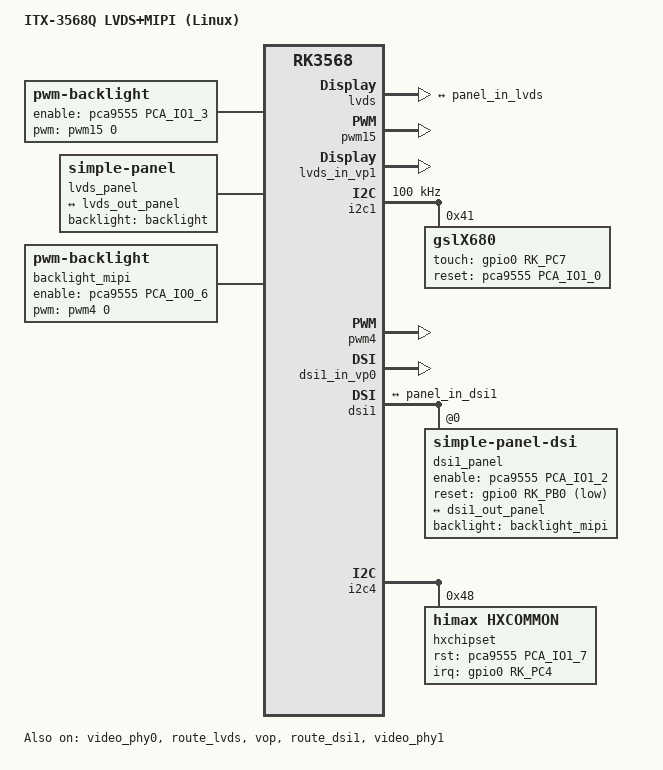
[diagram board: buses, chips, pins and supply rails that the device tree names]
// SPDX-License-Identifier: (GPL-2.0+ OR MIT)
/*
 * Copyright (c) 2020 Rockchip Electronics Co., Ltd.
 *
 */

 /dts-v1/;
#include <dt-bindings/display/media-bus-format.h>
#include "rk3568-firefly-itx-3568q.dtsi"
#include "rk3568-firefly-itx-3568q-cam-8ms1m.dtsi"

/ {
    model = "ITX-3568Q LVDS+MIPI (Linux)";
    compatible = "rockchip,rk3568-firefly-itx-3568q-lvds-mipi", "rockchip,rk3568";

    backlight:backlight {
        status = "okay";
        enable-gpios = <&pca9555 PCA_IO1_3 GPIO_ACTIVE_HIGH>;
        compatible = "pwm-backlight";
        pwms = <&pwm15 0 25000 1>;
        brightness-levels = <
             60  60  60  61  61  61  62  62
             62  63  63  63  64  64  64  65
             65  65  66  66  66  67  67  67
             68  68  68  69  69  69  70  70
             70  71  71  71  72  72  72  73
             73  73  74  74  74  75  75  75
             76  76  76  77  77  77  78  78
             78  79  79  79  80  80  80  81
             81  81  82  82  82  83  83  83
             84  84  84  85  85  85  86  86
             86  87  87  87  88  88  88  89
             89  89  90  91  92  93  94  95
             96  97  98  99 100 101 102 103
            104 105 106 107 108 109 110 111
            112 113 114 115 116 117 118 119
            120 121 122 123 124 125 126 127
            128 129 130 131 132 133 134 135
            136 137 138 139 140 141 142 143
            144 145 146 147 148 149 150 151
            152 153 154 155 156 157 158 159
            160 161 162 163 164 165 166 167
            168 169 170 171 172 173 174 175
            176 177 178 179 180 181 182 183
            184 185 186 187 188 189 190 191
            192 193 194 195 196 197 198 199
            200 201 202 203 204 205 206 207
            208 209 210 211 212 213 214 215
            216 217 218 219 220 221 222 223
            224 225 226 227 228 229 230 231
            232 233 234 235 236 237 238 239
            240 241 242 243 244 245 246 247
            248 249 250 251 252 253 254 255
        >;
        default-brightness-level = <200>;
    };

    lvds_panel: lvds-panel {
        compatible = "simple-panel";
        status = "okay";
        //enable-gpios = <&pca9555 PCA_IO1_2 GPIO_ACTIVE_HIGH>;
        backlight = <&backlight>;
        enable-delay-ms = <35>;
        prepare-delay-ms = <6>;
        unprepare-delay-ms = <0>;
        disable-delay-ms = <20>;
        bus-format = <MEDIA_BUS_FMT_RGB888_1X7X4_SPWG>;
        display-timings {
            native-mode = <&timing0>;
            timing0: timing0 {
                clock-frequency = <72000000>;
                hactive = <800>;
                vactive = <1280>;
                hfront-porch = <50>;
                hsync-len = <10>;
                hback-porch = <50>;
                vfront-porch = <10>;
                vsync-len = <18>;
                vback-porch = <10>;
                hsync-active = <0>;
                vsync-active = <0>;
                de-active = <0>;
                pixelclk-active = <0>;
            };
	    };

        ports {
            #address-cells = <1>;
            #size-cells = <0>;

            port@0 {
                reg = <0>;
                //dual-lvds-even-pixels;
                panel_in_lvds: endpoint {
                    remote-endpoint = <&lvds_out_panel>;
                };
            };
        };
    };

    backlight_mipi: backlight-mipi {
        status = "okay";
        compatible = "pwm-backlight";
        enable-gpios = <&pca9555 PCA_IO0_6 GPIO_ACTIVE_HIGH>;
        pwms = <&pwm4 0 50000 1>;
        brightness-levels = <
             60  60  60  61  61  61  62  62
             62  63  63  63  64  64  64  65
             65  65  66  66  66  67  67  67
             68  68  68  69  69  69  70  70
             70  71  71  71  72  72  72  73
             73  73  74  74  74  75  75  75
             76  76  76  77  77  77  78  78
             78  79  79  79  80  80  80  81
             81  81  82  82  82  83  83  83
             84  84  84  85  85  85  86  86
             86  87  87  87  88  88  88  89
             89  89  90  91  92  93  94  95
             96  97  98  99 100 101 102 103
            104 105 106 107 108 109 110 111
            112 113 114 115 116 117 118 119
            120 121 122 123 124 125 126 127
            128 129 130 131 132 133 134 135
            136 137 138 139 140 141 142 143
            144 145 146 147 148 149 150 151
            152 153 154 155 156 157 158 159
            160 161 162 163 164 165 166 167
            168 169 170 171 172 173 174 175
            176 177 178 179 180 181 182 183
            184 185 186 187 188 189 190 191
            192 193 194 195 196 197 198 199
            200 201 202 203 204 205 206 207
            208 209 210 211 212 213 214 215
            216 217 218 219 220 221 222 223
            224 225 226 227 228 229 230 231
            232 233 234 235 236 237 238 239
            240 241 242 243 244 245 246 247
            248 249 250 251 252 253 254 255
        >;
        default-brightness-level = <200>;
    };
};

&vp0 {
	rockchip,plane-mask = <(1 << ROCKCHIP_VOP2_CLUSTER0 | 1 << ROCKCHIP_VOP2_ESMART0 | 1 << ROCKCHIP_VOP2_SMART0)>;
	rockchip,primary-plane = <ROCKCHIP_VOP2_SMART0>;
};

&vp1 {
	rockchip,plane-mask = <(1 << ROCKCHIP_VOP2_CLUSTER1 | 1 << ROCKCHIP_VOP2_ESMART1 | 1 << ROCKCHIP_VOP2_SMART1)>;
	rockchip,primary-plane = <ROCKCHIP_VOP2_SMART1>;
};

&lvds {
    status = "okay";
    ports {
        lvds_out:port@1 {
            reg = <1>;

            lvds_out_panel: endpoint {
                remote-endpoint = <&panel_in_lvds>;
            };
        };
    };
};

// lvds backlight pwm
&pwm15 {
    status = "okay";
};

// hdmi
&route_hdmi {
    status = "disabled";
    connect = <&vp0_out_hdmi>;
};

&hdmi {
    status = "disabled";
};

&hdmi_in_vp0 {
    status = "disabled";
};

&hdmi_in_vp1 {
    status = "disabled";
};

//lvds
&video_phy0 {
    status = "okay";
};

&lvds_in_vp1 {
    status = "okay";
};

&lvds_in_vp2 {
    status = "disabled";
};

&route_lvds {
    status = "okay";
    connect = <&vp1_out_lvds>;
};

&vop {
    status = "okay";
    assigned-clocks = <&cru DCLK_VOP0>, <&cru DCLK_VOP1>;
    assigned-clock-parents = <&pmucru PLL_HPLL>, <&cru PLL_VPLL>;
};

//gslx680 tp
&i2c1 {
    status = "okay";
    clock-frequency = <100000>;
    //i2c-scl-rising-time-ns = <800>;
    //i2c-scl-falling-time-ns = <100>;
    gslx680: gslx680@41 {
        status = "okay";
        compatible = "gslX680";
        reg = <0x41>;
        screen_max_x = <800>;
        screen_max_y = <1280>;
        touch-gpio = <&gpio0 RK_PC7 IRQ_TYPE_LEVEL_LOW>;
        reset-gpio = <&pca9555 PCA_IO1_0 GPIO_ACTIVE_HIGH>;
        flip-x = <1>;
        flip-y = <0>;
        swap-xy = <0>;
        gsl,fw = <1>;
    };

    mc3230_1: mc3230sensor@4c {
        compatible = "gs_mc3230";
        reg = <0x4c>;
        type = <SENSOR_TYPE_ACCEL>;
        irq_enable = <0>;
        poll_delay_ms = <30>;
        layout = <4>;
        status = "disabled";
    };
};

/delete-node/ &vcc3v3_lcd0_n;
/delete-node/ &vcc3v3_lcd1_n;

//mipi
&pwm4 {
	status = "okay";
};

&route_dsi1 {
    status = "okay";
    connect = <&vp0_out_dsi1>;
};

&video_phy1 {
    status = "okay";
};

&dsi1_in_vp0 {
    status = "okay";
};

&dsi1_in_vp1 {
    status = "disabled";
};

/*
 * mipi_dphy1 needs to be enabled
 * when dsi1 is enabled
 */
&dsi1 {
    status = "okay";
    //rockchip,lane-rate = <1000>;
    dsi1_panel: panel@0 {
        status = "okay";
        compatible = "simple-panel-dsi";
        reg = <0>;
        backlight = <&backlight_mipi>;

        enable-gpios = <&pca9555 PCA_IO1_2 GPIO_ACTIVE_HIGH>;
        reset-gpios = <&gpio0 RK_PB0 GPIO_ACTIVE_LOW>;
        pinctrl-names = "default";
        pinctrl-0 = <&lcd_panel_reset>;
        //power-supply = <&vcc1v8_lcd0_power>;

        enable-delay-ms = <35>;
        prepare-delay-ms = <6>;
        reset-delay-ms = <25>;
        init-delay-ms = <55>;
        unprepare-delay-ms = <0>;
        disable-delay-ms = <20>;
        mipi-data-delay-ms = <200>;
        size,width = <120>;
        size,height = <170>;
        dsi,flags = <(MIPI_DSI_MODE_VIDEO | MIPI_DSI_MODE_VIDEO_BURST | MIPI_DSI_MODE_LPM | MIPI_DSI_MODE_EOT_PACKET)>;
        dsi,format = <MIPI_DSI_FMT_RGB888>;
        dsi,lanes  = <4>;

        panel-init-sequence = [
            //39 00 04 B9 83 10 2E
            // 15 00 02 CF FF
            05 78 01 11
            05 32 01 29
            //15 00 02 35 00
        ];

        panel-exit-sequence = [
            05 00 01 28
            05 00 01 10
        ];

        disp_timings1: display-timings {
            native-mode = <&dsi1_timing0>;
            dsi1_timing0: timing0 {
                clock-frequency = <72600000>;//<80000000>;
                hactive = <800>;//<768>;
                vactive = <1280>;
                hsync-len = <14>;   //20, 50,10
                hback-porch = <26>; //50, 56,10
                hfront-porch = <32>;//50, 30,180
	            vsync-len = <8>;//4
	            vback-porch = <20>;//4
	            vfront-porch = <80>;//8
	            hsync-active = <0>;
	            vsync-active = <0>;
	            de-active = <0>;
                pixelclk-active = <0>;
            };
        };

        ports {
            #address-cells = <1>;
            #size-cells = <0>;

            port@0 {
                reg = <0>;
                panel_in_dsi1: endpoint {
                    remote-endpoint = <&dsi1_out_panel>;
                };
            };
        };
	};

    ports {
        #address-cells = <1>;
        #size-cells = <0>;

        port@1 {
            reg = <1>;
            dsi1_out_panel: endpoint {
            remote-endpoint = <&panel_in_dsi1>;
            };
        };
	};
};

&i2c4 {
    hxchipset@48{
        status = "okay";
        compatible = "himax,hxcommon";
        reg = <0x48>;

        himax,rst-gpio =  <&pca9555 PCA_IO1_7 GPIO_ACTIVE_HIGH>;
        himax,irq-gpio = <&gpio0 RK_PC4 IRQ_TYPE_LEVEL_HIGH>;

        himax,panel-coords = <0 800 0 1280>;      //触摸范围
        himax,display-coords = <0 800 0 1280>;    //分辨率
        report_type = <1>;
    };
};

&pinctrl {
    lcd {
        lcd_panel_reset: lcd-panel-reset {
            rockchip,pins = <0 RK_PB0 RK_FUNC_GPIO &pcfg_pull_none>;
        };
	};
};
